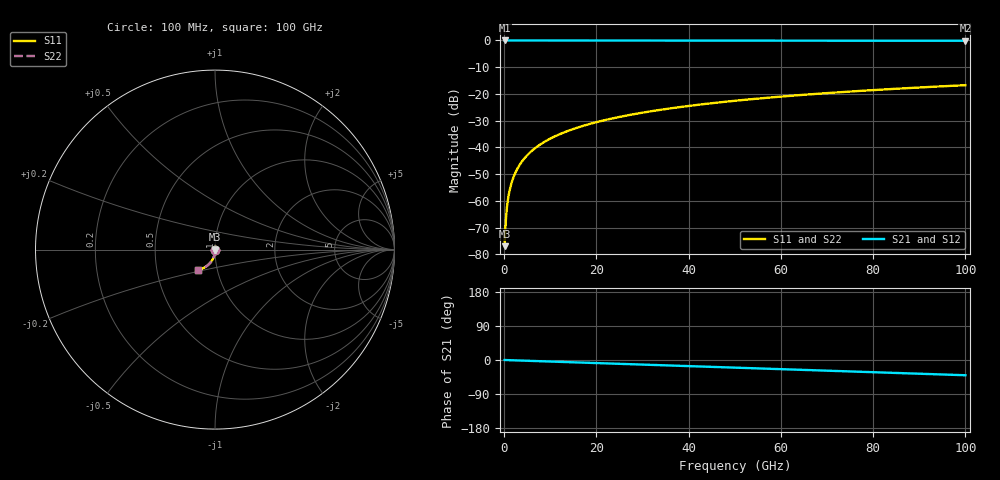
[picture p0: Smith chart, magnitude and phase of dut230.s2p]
! Touchstone file exported from HFSS 2026.1.0
!  File:  C:/ffzhzh/LocalFiles/Ansys_Project_Files/temp_train_TSV_230_1783507970_41296.aedt
!  Generated:  06:54:05 PM Jul  8, 2026
!  Design:  TSV
!  Project:  temp_train_TSV_230_1783507970_41296
! Variables:
!  h_bsmrdl = 2um
!  h_ox = 20um
!  h_rdl = 5um
!  h_sub = 81.28um
!  h_tmrdl = 5um
!  h_tsv = 81.28um
!  h_via = 3um
!  l_bsmrdl = 300um
!  l_sub = 424.68um
!  l_tmrdl = 200um
!  m_sub = 200um
!  pitch = 40.69um
!  r_tsv = 12.34um
!  s_tmrdl = 10um
!  w_bsmrdl = 18um
!  w_sub = 500um
!  w_tmrdl = 12um
!  x_tsv_center1 = 206um
!  x_tsv_center2 = 524um
!  x_tsv_center3 = 736um
!  x_tsv_center4 = 1054um
!  x_tsv_center5 = 1266um
!  x_tsv_center6 = 1584um
# GHz S MA R 50.000000
! Terminal data exported
! Port[1] = TSV1_1_T1
! Port[2] = TSV1_1_T2
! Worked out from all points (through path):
!   1000 points, 100 MHz to 100 GHz, reference 50 ohm
!   highest |S21| = 0.00 dB at 100 MHz (marker M1); lowest = -0.1 dB at 100 GHz (marker M2)
!   group delay of S21, straight-line fit = 1.12 ps
!   lowest |S11| = -76.9 dB at 100 MHz (marker M3), VSWR 1.00, Z = 50 - j0.0103 ohm
!   |S11| at or under -10 dB: start of sweep to end of sweep
!   |S22| runs from -76.9 to -16.7 dB; largest |S21 - S12| = 5.4e-15
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0.1  0.0001422 -46.6  0.9999 -0.0  0.9999 -0.0  0.0001422 -46.6
! Gamma 0 0 0 0
! Port Impedance 50 0 50 0
0.4  0.0004791 -70.8  0.9998 -0.2  0.9998 -0.2  0.0004791 -70.8
0.7  0.0008839 -75.8  0.9998 -0.3  0.9998 -0.3  0.0008839 -75.8
0.8  0.001024 -76.9  0.9998 -0.3  0.9998 -0.3  0.001024 -76.9
1.1  0.001447 -79.4  0.9997 -0.5  0.9997 -0.5  0.001447 -79.4
1.4  0.001874 -81.0  0.9997 -0.6  0.9997 -0.6  0.001874 -81.0
1.8  0.002445 -82.5  0.9996 -0.7  0.9996 -0.7  0.002445 -82.5
2.4  0.00331 -84.0  0.9996 -1.0  0.9996 -1.0  0.00331 -84.0
3  0.004184 -85.0  0.9995 -1.2  0.9995 -1.2  0.004184 -85.0
3.8  0.005358 -86.0  0.9995 -1.6  0.9995 -1.6  0.005358 -86.0
4.8  0.006837 -87.1  0.9994 -2.0  0.9994 -2.0  0.006837 -87.1
5.9  0.00847 -88.1  0.9993 -2.4  0.9993 -2.4  0.00847 -88.1
8.7  0.01264 -90.0  0.9991 -3.5  0.9991 -3.5  0.01264 -90.0
12.3  0.01804 -92.0  0.9989 -5.0  0.9989 -5.0  0.01804 -92.0
16.8  0.02481 -94.3  0.9986 -6.8  0.9986 -6.8  0.02481 -94.2
24.2  0.03594 -97.7  0.998 -9.8  0.998 -9.8  0.03594 -97.7
33.4  0.04974 -101.7  0.9972 -13.5  0.9972 -13.5  0.04975 -101.7
41.2  0.0614 -105.0  0.9963 -16.6  0.9963 -16.6  0.0614 -105.0
50.1  0.07461 -108.8  0.9952 -20.2  0.9952 -20.2  0.07461 -108.7
66.7  0.09889 -115.7  0.9928 -26.9  0.9928 -26.9  0.09889 -115.6
83.4  0.1227 -122.5  0.9897 -33.6  0.9897 -33.6  0.1227 -122.5
100  0.1458 -129.3  0.9861 -40.2  0.9861 -40.2  0.1458 -129.3
